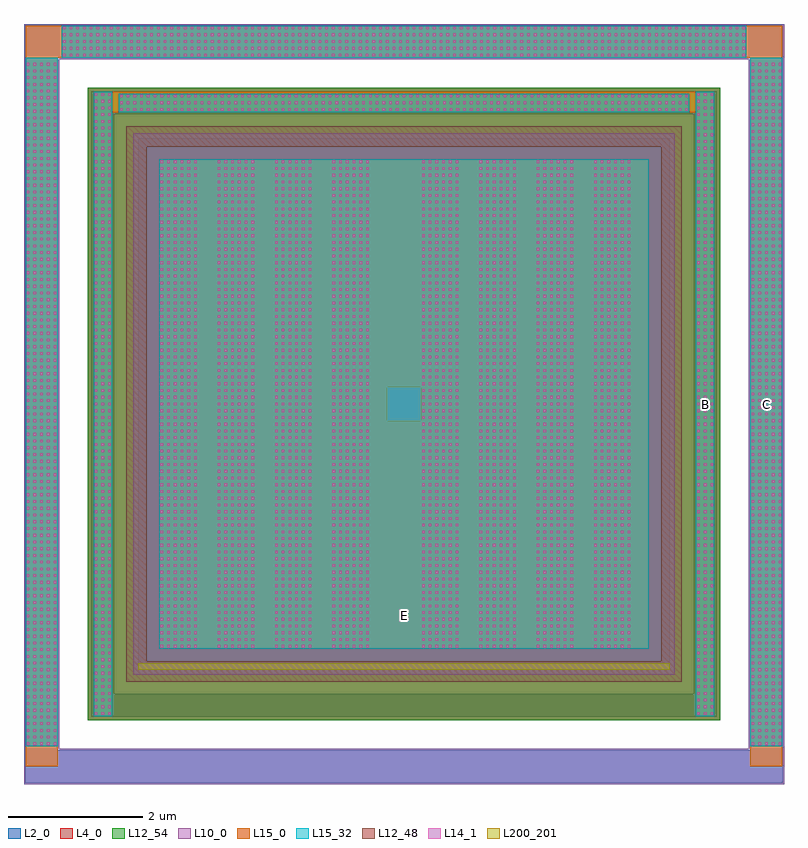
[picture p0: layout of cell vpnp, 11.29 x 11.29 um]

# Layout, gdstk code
import gdstk
lib = gdstk.Library(unit=1e-6, precision=1e-09)
def R(c, l, rs):  # rectangles x0, y0, x1, y1
    for r in rs: c.add(gdstk.rectangle(r[:2], r[2:], *l))
def A(c, l, x, y, w, h, nx, ny, dx, dy):  # array of equal rectangles
    R(c, l, [(x+i*dx, y+j*dy, x+i*dx+w, y+j*dy+h) for i in range(nx) for j in range(ny)])
L2_0 = (2, 0)
L4_0 = (4, 0)
L10_0 = (10, 0)
L12_48 = (12, 48)
L12_54 = (12, 54)
L14_1 = (14, 1)
L15_0 = (15, 0)
L15_32 = (15, 32)
L200_201 = (200, 201)

vpnp = lib.new_cell('vpnp')
R(vpnp, L2_0, [(-12.129,-4.159,-0.877,-3.679), (-12.129,-3.679,-11.649,6.613), (-1.357,-3.679,-0.877,6.613), (-11.149,-3.179,-1.857,-2.839), (-11.149,-2.839,-10.809,5.773), (-2.197,-2.839,-1.857,5.773), (-10.453,-2.483,-2.553,5.417), (-11.149,5.773,-1.857,6.113), (-12.129,6.613,-0.877,7.093)])
R(vpnp, L4_0, [(-11.205,-3.235,-1.801,6.169)])
R(vpnp, L10_0, [(-12.15,-4.18,-0.856,-3.658), (-12.15,-3.658,-11.628,6.592), (-1.378,-3.658,-0.856,6.592), (-10.523,-2.553,-2.483,5.487), (-12.15,6.592,-0.856,7.114)])
R(vpnp, L12_48, [(-10.634,-2.664,-2.372,-2.358), (-10.634,-2.358,-10.328,5.292), (-2.678,-2.358,-2.372,5.292), (-10.634,5.292,-2.372,5.598)])
R(vpnp, L12_54, [(-11.205,-3.235,-1.801,6.169)])
A(vpnp, L14_1, -12.109, -3.603, 0.04, 0.04, 5, 102, 0.1, 0.1)
A(vpnp, L14_1, -1.337, -3.603, 0.04, 0.04, 5, 102, 0.1, 0.1)
A(vpnp, L14_1, -11.099, -3.153, 0.04, 0.04, 3, 93, 0.1, 0.1)
A(vpnp, L14_1, -2.147, -3.153, 0.04, 0.04, 3, 93, 0.1, 0.1)
A(vpnp, L14_1, -10.123, -2.153, 0.04, 0.04, 6, 73, 0.1, 0.1)
A(vpnp, L14_1, -9.271, -2.153, 0.04, 0.04, 6, 73, 0.1, 0.1)
A(vpnp, L14_1, -8.419, -2.153, 0.04, 0.04, 6, 73, 0.1, 0.1)
A(vpnp, L14_1, -7.567, -2.153, 0.04, 0.04, 6, 73, 0.1, 0.1)
A(vpnp, L14_1, -6.235, -2.153, 0.04, 0.04, 6, 73, 0.1, 0.1)
A(vpnp, L14_1, -5.383, -2.153, 0.04, 0.04, 6, 73, 0.1, 0.1)
A(vpnp, L14_1, -4.531, -2.153, 0.04, 0.04, 6, 73, 0.1, 0.1)
A(vpnp, L14_1, -3.679, -2.153, 0.04, 0.04, 6, 73, 0.1, 0.1)
A(vpnp, L14_1, -10.723, 5.823, 0.04, 0.04, 85, 3, 0.1, 0.1)
A(vpnp, L14_1, -11.573, 6.633, 0.04, 0.04, 102, 5, 0.1, 0.1)
R(vpnp, L15_0, [(-12.127,-3.919,-11.651,7.091), (-1.355,-3.919,-0.879,7.091), (-11.117,-3.171,-10.841,6.105), (-2.165,-3.171,-1.889,6.105), (-10.141,-2.171,-2.865,1.217), (-10.141,1.217,-6.753,1.717), (-6.253,1.217,-2.865,1.717), (-10.141,1.717,-2.865,5.105), (-10.841,5.805,-2.165,6.105), (-11.651,6.615,-1.355,7.091)])
R(vpnp, L15_32, [(-12.127,-3.621,-11.651,6.615), (-1.355,-3.621,-0.879,6.615), (-11.117,-3.171,-10.841,6.105), (-2.165,-3.171,-1.889,6.105), (-10.141,-2.171,-2.865,5.105), (-10.741,5.805,-2.265,6.081), (-11.591,6.615,-1.415,7.091)])
R(vpnp, L200_201, [(-10.453,-2.483,-2.553,-2.383)])
vpnp.add(gdstk.Label('E', (-6.503,-1.671), layer=15, texttype=20))
vpnp.add(gdstk.Label('B', (-2.027,1.467), layer=15, texttype=20))
vpnp.add(gdstk.Label('C', (-1.117,1.467), layer=15, texttype=20))

lib.write_gds('vpnp.gds')
